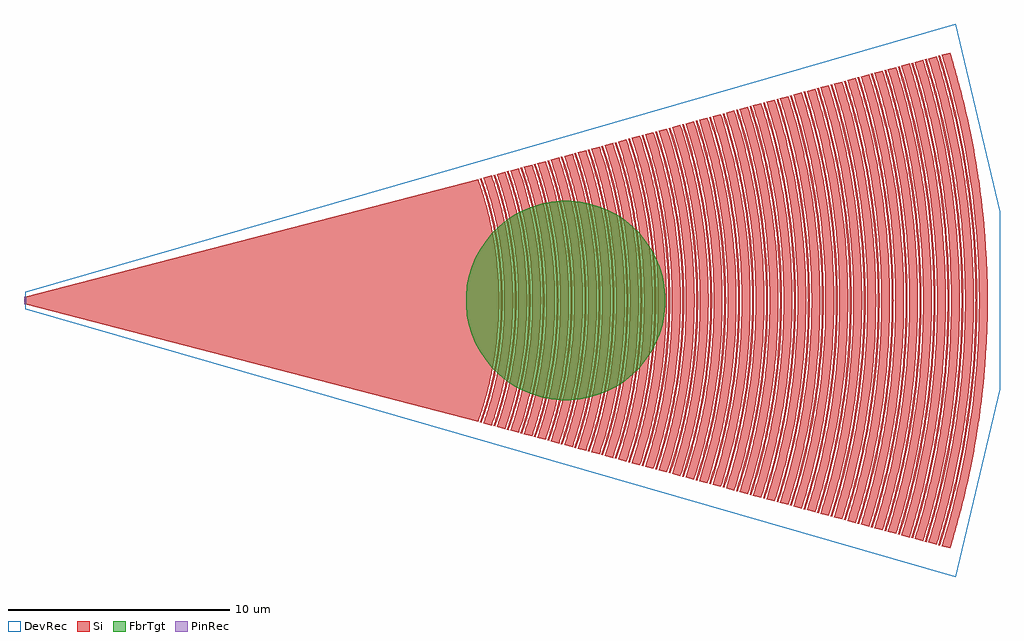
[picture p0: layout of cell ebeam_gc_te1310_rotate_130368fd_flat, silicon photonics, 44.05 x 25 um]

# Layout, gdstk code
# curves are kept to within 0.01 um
import gdstk
lib = gdstk.Library(unit=1e-6, precision=1e-09)
def R(c, l, rs):  # rectangles x0, y0, x1, y1
    for r in rs: c.add(gdstk.rectangle(r[:2], r[2:], *l))
def P(c, l, *ps):  # polygons
    for p in ps: c.add(gdstk.Polygon(p, *l))
Si = (1, 0)
PinRec = (1, 10)
DevRec = (68, 0)
FbrTgt = (81, 0)

ebeam_gc_te1310_rotate_1 = lib.new_cell('ebeam_gc_te1310_rotate_130368fd_flat')
P(ebeam_gc_te1310_rotate_1, Si, [(20.602,5.52),(20.798,4.936),(21.015,4.18),(21.208,3.359),(21.313,2.806),(21.422,2.082),(21.503,1.296),(21.54,0.677),(21.554,0.056),(21.54,-0.677),(21.503,-1.296),(21.429,-2.026),(21.332,-2.695),(21.208,-3.359),(21.029,-4.126),(20.798,-4.936),(20.602,-5.52),(20.526,-5.5),(20.77,-4.757),(20.993,-3.948),(21.174,-3.127),(21.289,-2.463),(21.37,-1.851),(21.424,-1.292),(21.461,-0.674),(21.475,-0.056),(21.461,0.674),(21.424,1.292),(21.37,1.851),(21.289,2.463),(21.174,3.127),(20.993,3.948),(20.77,4.757),(20.526,5.5)],
  [(21.057,5.642),(21.306,4.88),(21.462,4.327),(21.612,3.714),(21.77,2.924),(21.883,2.184),(21.953,1.554),(22.008,0.749),(22.024,0.115),(22.008,-0.749),(21.968,-1.382),(21.883,-2.184),(21.789,-2.811),(21.661,-3.489),(21.491,-4.216),(21.306,-4.88),(21.057,-5.642),(20.68,-5.541),(20.926,-4.793),(21.094,-4.196),(21.276,-3.427),(21.393,-2.816),(21.502,-2.089),(21.564,-1.527),(21.618,-0.736),(21.634,-0.113),(21.618,0.736),(21.583,1.301),(21.516,1.977),(21.412,2.705),(21.276,3.427),(21.094,4.196),(20.926,4.793),(20.68,5.541)],
  [(21.211,5.683),(21.428,5.026),(21.633,4.303),(21.794,3.627),(21.938,2.888),(22.034,2.258),(22.112,1.566),(22.167,0.755),(22.184,0.058),(22.172,-0.639),(22.127,-1.392),(22.049,-2.142),(21.938,-2.888),(21.794,-3.627),(21.633,-4.303),(21.428,-5.026),(21.211,-5.683),(21.135,-5.663),(21.368,-4.953),(21.57,-4.232),(21.752,-3.445),(21.888,-2.707),(21.991,-1.963),(22.053,-1.329),(22.093,-0.636),(22.105,-0.058),(22.093,0.636),(22.053,1.329),(21.991,1.963),(21.906,2.593),(21.752,3.445),(21.57,4.232),(21.368,4.953),(21.135,5.663)],
  [(21.665,5.805),(21.903,5.077),(22.109,4.338),(22.258,3.705),(22.384,3.066),(22.502,2.305),(22.581,1.599),(22.632,0.889),(22.654,0.119),(22.648,-0.474),(22.606,-1.303),(22.545,-1.953),(22.424,-2.833),(22.283,-3.589),(22.109,-4.338),(21.903,-5.077),(21.665,-5.805),(21.289,-5.704),(21.523,-4.989),(21.712,-4.319),(21.861,-3.697),(21.987,-3.071),(22.114,-2.266),(22.187,-1.629),(22.245,-0.816),(22.264,-0.117),(22.25,0.699),(22.212,1.339),(22.15,1.977),(22.037,2.784),(21.873,3.641),(21.712,4.319),(21.523,4.989),(21.289,5.704)],
  [(21.819,5.846),(22.024,5.226),(22.251,4.426),(22.403,3.789),(22.542,3.088),(22.636,2.499),(22.735,1.67),(22.797,0.776),(22.814,0.06),(22.804,-0.597),(22.756,-1.432),(22.676,-2.203),(22.582,-2.853),(22.428,-3.673),(22.251,-4.426),(22.024,-5.226),(21.819,-5.846),(21.743,-5.826),(21.964,-5.152),(22.188,-4.353),(22.35,-3.66),(22.513,-2.784),(22.59,-2.255),(22.677,-1.427),(22.718,-0.773),(22.735,-0.06),(22.725,0.595),(22.677,1.427),(22.59,2.255),(22.513,2.784),(22.35,3.66),(22.188,4.353),(21.964,5.152),(21.743,5.826)],
  [(22.274,5.968),(22.517,5.219),(22.712,4.518),(22.867,3.868),(23.029,3.032),(23.144,2.249),(23.215,1.583),(23.267,0.792),(23.284,0.122),(23.272,-0.67),(23.235,-1.34),(23.159,-2.128),(23.049,-2.912),(22.905,-3.689),(22.742,-4.4),(22.517,-5.219),(22.274,-5.968),(21.897,-5.867),(22.137,-5.131),(22.329,-4.442),(22.495,-3.744),(22.632,-3.04),(22.756,-2.211),(22.826,-1.556),(22.88,-0.719),(22.894,-0.12),(22.88,0.719),(22.841,1.377),(22.756,2.211),(22.662,2.863),(22.532,3.569),(22.359,4.326),(22.137,5.131),(21.897,5.867)],
  [(22.428,6.01),(22.672,5.255),(22.884,4.49),(23.037,3.834),(23.187,3.053),(23.303,2.264),(23.369,1.655),(23.429,0.736),(23.444,0.061),(23.429,-0.736),(23.369,-1.655),(23.303,-2.264),(23.187,-3.053),(23.037,-3.834),(22.884,-4.49),(22.672,-5.255),(22.428,-6.01),(22.352,-5.989),(22.63,-5.121),(22.836,-4.356),(23.02,-3.523),(23.148,-2.801),(23.253,-2.014),(23.315,-1.344),(23.35,-0.734),(23.365,-0.061),(23.35,0.734),(23.315,1.344),(23.253,2.014),(23.148,2.801),(23.02,3.523),(22.836,4.356),(22.63,5.121),(22.352,5.989)],
  [(22.882,6.131),(23.148,5.302),(23.33,4.641),(23.488,3.973),(23.643,3.176),(23.747,2.496),(23.838,1.688),(23.891,0.939),(23.914,0.125),(23.904,-0.626),(23.859,-1.438),(23.779,-2.248),(23.664,-3.052),(23.522,-3.813),(23.33,-4.641),(23.148,-5.302),(22.882,-6.131),(22.506,-6.03),(22.733,-5.332),(22.963,-4.505),(23.129,-3.788),(23.267,-3.063),(23.383,-2.272),(23.46,-1.538),(23.507,-0.8),(23.524,-0.123),(23.512,0.677),(23.46,1.538),(23.383,2.272),(23.267,3.063),(23.129,3.788),(22.963,4.505),(22.733,5.332),(22.506,6.03)],
  [(23.036,6.173),(23.268,5.457),(23.471,4.733),(23.632,4.061),(23.801,3.197),(23.906,2.513),(24.003,1.636),(24.056,0.819),(24.074,0.063),(24.056,-0.819),(24.003,-1.636),(23.93,-2.325),(23.822,-3.073),(23.697,-3.753),(23.502,-4.611),(23.286,-5.397),(23.036,-6.173),(22.96,-6.152),(23.209,-5.379),(23.424,-4.596),(23.619,-3.741),(23.783,-2.815),(23.859,-2.255),(23.944,-1.381),(23.98,-0.754),(23.995,-0.063),(23.98,0.754),(23.944,1.381),(23.859,2.255),(23.783,2.815),(23.619,3.741),(23.424,4.596),(23.209,5.379),(22.96,6.152)],
  [(23.491,6.294),(23.726,5.565),(23.948,4.764),(24.109,4.078),(24.278,3.196),(24.382,2.498),(24.472,1.668),(24.517,1.028),(24.544,0.129),(24.529,-0.771),(24.488,-1.476),(24.406,-2.307),(24.299,-3.07),(24.148,-3.89),(23.948,-4.764),(23.726,-5.565),(23.491,-6.294),(23.114,-6.193),(23.328,-5.536),(23.55,-4.748),(23.738,-3.951),(23.881,-3.208),(23.986,-2.521),(24.083,-1.642),(24.139,-0.759),(24.154,-0.126),(24.146,0.569),(24.108,1.327),(24.018,2.27),(23.902,3.083),(23.751,3.889),(23.581,4.626),(23.364,5.416),(23.114,6.193)],
  [(23.645,6.336),(23.918,5.478),(24.12,4.732),(24.28,4.041),(24.447,3.153),(24.565,2.322),(24.637,1.615),(24.683,0.905),(24.704,0.065),(24.691,-0.711),(24.637,-1.615),(24.565,-2.322),(24.447,-3.153),(24.28,-4.041),(24.12,-4.732),(23.918,-5.478),(23.645,-6.336),(23.569,-6.315),(23.841,-5.46),(24.058,-4.655),(24.241,-3.839),(24.399,-2.953),(24.494,-2.251),(24.558,-1.61),(24.607,-0.838),(24.625,-0.064),(24.612,0.709),(24.573,1.417),(24.494,2.251),(24.399,2.953),(24.241,3.839),(24.058,4.655),(23.841,5.46),(23.569,6.315)],
  [(24.099,6.457),(24.358,5.646),(24.533,5.014),(24.73,4.183),(24.869,3.473),(25.009,2.562),(25.095,1.777),(25.15,0.988),(25.174,0.132),(25.156,-0.856),(25.106,-1.646),(25.041,-2.301),(24.924,-3.149),(24.784,-3.925),(24.582,-4.823),(24.358,-5.646),(24.099,-6.457),(23.723,-6.356),(23.978,-5.558),(24.215,-4.685),(24.359,-4.054),(24.516,-3.228),(24.621,-2.523),(24.706,-1.749),(24.757,-1.038),(24.784,-0.13),(24.769,0.778),(24.737,1.361),(24.66,2.201),(24.537,3.1),(24.411,3.801),(24.215,4.685),(23.978,5.558),(23.723,6.356)],
  [(24.253,6.499),(24.532,5.619),(24.706,4.982),(24.915,4.08),(25.05,3.365),(25.176,2.513),(25.26,1.722),(25.318,0.796),(25.334,0.066),(25.318,-0.796),(25.271,-1.59),(25.176,-2.513),(25.061,-3.299),(24.915,-4.08),(24.706,-4.982),(24.532,-5.619),(24.253,-6.499),(24.177,-6.478),(24.455,-5.601),(24.661,-4.838),(24.837,-4.067),(25.004,-3.159),(25.121,-2.308),(25.192,-1.585),(25.239,-0.793),(25.255,-0.066),(25.244,0.661),(25.202,1.453),(25.136,2.177),(25.044,2.898),(24.889,3.808),(24.723,4.582),(24.455,5.601),(24.177,6.478)],
  [(24.708,6.62),(24.952,5.853),(25.184,5.009),(25.379,4.156),(25.505,3.494),(25.644,2.56),(25.735,1.687),(25.791,0.743),(25.804,0.135),(25.791,-0.743),(25.735,-1.687),(25.644,-2.56),(25.549,-3.228),(25.379,-4.156),(25.184,-5.009),(24.952,-5.853),(24.708,-6.62),(24.331,-6.52),(24.592,-5.7),(24.785,-4.997),(24.953,-4.288),(25.107,-3.506),(25.239,-2.653),(25.322,-1.926),(25.393,-0.931),(25.414,-0.133),(25.396,0.865),(25.346,1.661),(25.28,2.323),(25.162,3.179),(25.021,3.963),(24.833,4.805),(24.592,5.7),(24.331,6.52)],
  [(24.862,6.662),(25.108,5.889),(25.307,5.172),(25.523,4.248),(25.663,3.515),(25.803,2.575),(25.894,1.697),(25.948,0.815),(25.964,0.068),(25.948,-0.815),(25.905,-1.562),(25.835,-2.306),(25.707,-3.248),(25.55,-4.115),(25.373,-4.909),(25.146,-5.759),(24.862,-6.662),(24.786,-6.641),(25.012,-5.936),(25.263,-5.025),(25.445,-4.235),(25.629,-3.238),(25.756,-2.299),(25.826,-1.557),(25.869,-0.813),(25.885,-0.068),(25.869,0.813),(25.826,1.557),(25.756,2.299),(25.629,3.238),(25.445,4.235),(25.263,5.025),(25.012,5.936),(24.786,6.641)],
  [(25.316,6.784),(25.566,5.996),(25.785,5.199),(25.987,4.325),(26.152,3.443),(26.271,2.622),(26.358,1.797),(26.409,1.038),(26.434,0.138),(26.423,-0.692),(26.369,-1.659),(26.271,-2.622),(26.174,-3.307),(26.001,-4.258),(25.785,-5.199),(25.566,-5.996),(25.316,-6.784),(24.94,-6.683),(25.167,-5.972),(25.419,-5.056),(25.616,-4.195),(25.754,-3.459),(25.883,-2.583),(25.963,-1.838),(26.019,-1.022),(26.044,-0.136),(26.031,0.75),(25.98,1.635),(25.883,2.583),(25.787,3.258),(25.643,4.061),(25.452,4.924),(25.262,5.647),(24.94,6.683)],
  [(25.471,6.825),(25.741,5.966),(25.975,5.096),(26.158,4.284),(26.31,3.464),(26.421,2.707),(26.517,1.808),(26.568,1.044),(26.594,0.07),(26.58,-0.766),(26.517,-1.808),(26.421,-2.707),(26.31,-3.464),(26.158,-4.284),(25.975,-5.096),(25.741,-5.966),(25.471,-6.825),(25.394,-6.804),(25.664,-5.949),(25.914,-5.014),(26.108,-4.135),(26.254,-3.317),(26.368,-2.492),(26.444,-1.733),(26.501,-0.763),(26.515,-0.069),(26.501,0.763),(26.455,1.595),(26.376,2.424),(26.275,3.18),(26.108,4.135),(25.914,5.014),(25.664,5.949),(25.394,6.804)],
  [(25.925,6.947),(26.199,6.073),(26.385,5.392),(26.594,4.498),(26.765,3.595),(26.88,2.825),(26.974,1.981),(27.035,1.133),(27.064,0.142),(27.053,-0.708),(26.998,-1.699),(26.915,-2.544),(26.788,-3.455),(26.594,-4.498),(26.436,-5.187),(26.199,-6.073),(25.925,-6.947),(25.548,-6.846),(25.819,-5.985),(26.054,-5.112),(26.237,-4.297),(26.39,-3.474),(26.51,-2.646),(26.603,-1.744),(26.652,-0.977),(26.674,-0.14),(26.658,0.838),(26.603,1.744),(26.51,2.646),(26.39,3.474),(26.237,4.297),(26.054,5.112),(25.819,5.985),(25.548,6.846)],
  [(26.079,6.988),(26.354,6.109),(26.559,5.355),(26.751,4.525),(26.923,3.616),(27.029,2.912),(27.133,1.993),(27.198,1.069),(27.224,0.071),(27.21,-0.784),(27.157,-1.709),(27.082,-2.488),(26.946,-3.476),(26.78,-4.385),(26.559,-5.355),(26.354,-6.109),(26.079,-6.988),(26.003,-6.967),(26.258,-6.159),(26.549,-5.064),(26.73,-4.234),(26.89,-3.325),(26.995,-2.552),(27.078,-1.704),(27.131,-0.782),(27.145,-0.071),(27.131,0.782),(27.089,1.562),(27.019,2.34),(26.89,3.325),(26.73,4.234),(26.549,5.064),(26.258,6.159),(26.003,6.967)],
  [(26.534,7.11),(26.813,6.215),(27.072,5.238),(27.23,4.532),(27.401,3.607),(27.542,2.603),(27.615,1.883),(27.668,1.087),(27.694,0.145),(27.685,-0.652),(27.632,-1.666),(27.542,-2.603),(27.424,-3.464),(27.23,-4.532),(27.072,-5.238),(26.813,-6.215),(26.534,-7.11),(26.157,-7.009),(26.433,-6.127),(26.655,-5.302),(26.845,-4.468),(27.003,-3.627),(27.154,-2.567),(27.226,-1.856),(27.278,-1.072),(27.304,-0.143),(27.295,0.643),(27.243,1.642),(27.154,2.567),(27.026,3.486),(26.845,4.468),(26.655,5.302),(26.433,6.127),(26.157,7.009)],
  [(26.688,7.151),(26.948,6.321),(27.194,5.409),(27.416,4.416),(27.571,3.556),(27.701,2.618),(27.786,1.748),(27.837,0.875),(27.854,0.073),(27.837,-0.875),(27.786,-1.748),(27.701,-2.618),(27.571,-3.556),(27.416,-4.416),(27.194,-5.409),(26.948,-6.321),(26.688,-7.151),(26.611,-7.13),(26.871,-6.303),(27.151,-5.253),(27.324,-4.474),(27.504,-3.475),(27.622,-2.611),(27.707,-1.743),(27.758,-0.872),(27.775,-0.073),(27.763,0.727),(27.718,1.598),(27.622,2.611),(27.526,3.331),(27.38,4.19),(27.151,5.253),(26.871,6.303),(26.611,7.13)],
  [(27.142,7.273),(27.406,6.428),(27.601,5.716),(27.821,4.78),(27.989,3.909),(28.133,2.957),(28.237,1.999),(28.301,1.038),(28.324,0.148),(28.31,-0.815),(28.261,-1.704),(28.178,-2.589),(28.049,-3.543),(27.895,-4.418),(27.673,-5.429),(27.447,-6.286),(27.142,-7.273),(26.765,-7.172),(27.006,-6.409),(27.273,-5.425),(27.481,-4.5),(27.639,-3.639),(27.745,-2.916),(27.848,-1.972),(27.911,-1.023),(27.934,-0.146),(27.92,0.804),(27.866,1.753),(27.781,2.626),(27.639,3.639),(27.481,4.5),(27.273,5.425),(27.006,6.409),(26.765,7.172)],
  [(27.296,7.314),(27.582,6.393),(27.812,5.532),(27.993,4.735),(28.172,3.784),(28.301,2.9),(28.396,2.011),(28.457,1.118),(28.484,0.075),(28.472,-0.746),(28.42,-1.713),(28.328,-2.678),(28.184,-3.71),(28.038,-4.516),(27.812,-5.532),(27.582,-6.393),(27.296,-7.314),(27.22,-7.294),(27.505,-6.375),(27.752,-5.445),(27.96,-4.503),(28.129,-3.553),(28.258,-2.597),(28.33,-1.857),(28.378,-1.115),(28.405,-0.074),(28.393,0.743),(28.347,1.634),(28.282,2.375),(28.173,3.26),(27.974,4.431),(27.752,5.445),(27.505,6.375),(27.22,7.294)],
  [(27.751,7.436),(27.977,6.717),(28.237,5.77),(28.442,4.887),(28.638,3.847),(28.769,2.948),(28.872,1.968),(28.934,0.985),(28.954,0.152),(28.937,-0.909),(28.89,-1.742),(28.805,-2.647),(28.674,-3.622),(28.488,-4.665),(28.309,-5.477),(28.061,-6.427),(27.751,-7.436),(27.374,-7.335),(27.64,-6.483),(27.891,-5.548),(28.073,-4.748),(28.239,-3.868),(28.362,-3.056),(28.47,-2.091),(28.537,-1.121),(28.564,-0.15),(28.55,0.822),(28.495,1.793),(28.417,2.611),(28.287,3.573),(28.103,4.602),(27.891,5.548),(27.64,6.483),(27.374,7.335)],
  [(27.905,7.477),(28.132,6.754),(28.393,5.802),(28.599,4.914),(28.796,3.868),(28.928,2.964),(29.031,1.979),(29.09,1.067),(29.114,0.076),(29.09,-1.067),(29.031,-1.979),(28.928,-2.964),(28.796,-3.868),(28.599,-4.914),(28.393,-5.802),(28.132,-6.754),(27.905,-7.477),(27.828,-7.457),(28.119,-6.518),(28.388,-5.492),(28.611,-4.455),(28.777,-3.482),(28.902,-2.503),(28.97,-1.747),(29.02,-0.836),(29.035,-0.076),(29.02,0.836),(28.97,1.747),(28.902,2.503),(28.777,3.482),(28.611,4.455),(28.388,5.492),(28.119,6.518),(27.828,7.457)],
  [(28.359,7.599),(28.633,6.716),(28.854,5.897),(29.094,4.843),(29.25,4.007),(29.396,3.012),(29.494,2.088),(29.56,1.084),(29.584,0.155),(29.572,-0.774),(29.513,-1.857),(29.396,-3.012),(29.275,-3.854),(29.094,-4.843),(28.891,-5.747),(28.633,-6.716),(28.359,-7.599),(27.982,-7.498),(28.232,-6.7),(28.472,-5.819),(28.694,-4.853),(28.876,-3.878),(29.008,-2.972),(29.105,-2.061),(29.163,-1.222),(29.194,-0.153),(29.182,0.764),(29.135,1.68),(29.061,2.517),(28.924,3.577),(28.769,4.479),(28.544,5.523),(28.274,6.554),(27.982,7.498)],
  [(28.513,7.64),(28.788,6.752),(29.066,5.702),(29.267,4.793),(29.433,3.875),(29.564,2.951),(29.666,1.944),(29.723,1.012),(29.744,0.078),(29.723,-1.012),(29.666,-1.944),(29.564,-2.951),(29.433,-3.875),(29.267,-4.793),(29.066,-5.702),(28.788,-6.752),(28.513,-7.64),(28.437,-7.62),(28.711,-6.734),(28.97,-5.762),(29.189,-4.78),(29.379,-3.711),(29.495,-2.866),(29.581,-2.017),(29.644,-1.009),(29.665,-0.078),(29.65,0.854),(29.599,1.784),(29.504,2.789),(29.402,3.558),(29.219,4.628),(29.024,5.537),(28.774,6.511),(28.437,7.62)],
  [(28.968,7.762),(29.268,6.784),(29.509,5.87),(29.731,4.869),(29.887,4.014),(30.032,2.998),(30.129,2.054),(30.186,1.186),(30.214,0.158),(30.199,-0.87),(30.153,-1.739),(30.06,-2.762),(29.912,-3.858),(29.731,-4.869),(29.509,-5.87),(29.268,-6.784),(28.968,-7.762),(28.591,-7.661),(28.888,-6.696),(29.145,-5.718),(29.331,-4.882),(29.513,-3.885),(29.644,-2.959),(29.74,-2.027),(29.8,-1.093),(29.824,-0.156),(29.812,0.781),(29.764,1.716),(29.68,2.649),(29.513,3.885),(29.331,4.882),(29.145,5.718),(28.888,6.696),(28.591,7.661)],
  [(29.122,7.803),(29.423,6.82),(29.684,5.824),(29.873,4.972),(30.045,4.036),(30.191,3.013),(30.288,2.065),(30.349,1.113),(30.374,0.08),(30.361,-0.795),(30.301,-1.906),(30.191,-3.013),(30.07,-3.879),(29.904,-4.817),(29.684,-5.824),(29.423,-6.82),(29.122,-7.803),(29.045,-7.783),(29.389,-6.65),(29.625,-5.732),(29.826,-4.804),(30.016,-3.712),(30.122,-2.927),(30.216,-1.98),(30.27,-1.11),(30.295,-0.079),(30.282,0.793),(30.228,1.822),(30.14,2.769),(30.016,3.712),(29.826,4.804),(29.625,5.732),(29.389,6.65),(29.045,7.783)],
  [(29.576,7.925),(29.837,7.081),(30.108,6.071),(30.321,5.128),(30.498,4.178),(30.629,3.3),(30.751,2.177),(30.819,1.13),(30.844,0.161),(30.829,-0.888),(30.764,-2.016),(30.669,-2.98),(30.537,-3.939),(30.353,-4.97),(30.127,-5.993),(29.837,-7.081),(29.576,-7.925),(29.2,-7.824),(29.48,-6.914),(29.763,-5.839),(29.968,-4.907),(30.125,-4.046),(30.271,-3.021),(30.362,-2.15),(30.426,-1.195),(30.454,-0.159),(30.439,0.877),(30.393,1.752),(30.299,2.784),(30.15,3.889),(29.999,4.751),(29.763,5.839),(29.48,6.914),(29.2,7.824)],
  [(29.73,7.966),(30.015,7.04),(30.283,6.024),(30.526,4.917),(30.695,3.959),(30.818,3.076),(30.923,2.027),(30.982,1.055),(31.004,0.081),(30.982,-1.055),(30.923,-2.027),(30.837,-2.915),(30.695,-3.959),(30.526,-4.917),(30.283,-6.024),(30.015,-7.04),(29.73,-7.966),(29.654,-7.946),(29.982,-6.867),(30.225,-5.93),(30.448,-4.904),(30.629,-3.869),(30.749,-2.988),(30.851,-1.941),(30.903,-1.052),(30.925,-0.081),(30.912,0.809),(30.857,1.86),(30.785,2.666),(30.665,3.629),(30.508,4.587),(30.262,5.773),(29.982,6.867),(29.654,7.946)],
  [(30.185,8.088),(30.473,7.147),(30.745,6.115),(30.942,5.233),(31.149,4.101),(31.296,3.041),(31.393,2.058),(31.449,1.153),(31.474,0.165),(31.449,-1.153),(31.393,-2.058),(31.296,-3.041),(31.149,-4.101),(30.942,-5.233),(30.745,-6.115),(30.473,-7.147),(30.185,-8.088),(29.808,-7.987),(30.071,-7.136),(30.343,-6.118),(30.574,-5.089),(30.736,-4.21),(30.878,-3.245),(30.997,-2.113),(31.059,-1.139),(31.084,-0.163),(31.066,0.976),(31.01,1.951),(30.917,2.922),(30.775,3.97),(30.59,5.009),(30.381,5.961),(30.071,7.136),(29.808,7.987)],
  [(30.339,8.129),(30.628,7.184),(30.882,6.227),(31.116,5.179),(31.294,4.203),(31.445,3.139),(31.552,2.068),(31.615,0.994),(31.634,0.083),(31.615,-0.994),(31.552,-2.068),(31.445,-3.139),(31.32,-4.04),(31.116,-5.179),(30.882,-6.227),(30.628,-7.184),(30.339,-8.129),(30.263,-8.109),(30.551,-7.166),(30.824,-6.131),(31.07,-5.004),(31.254,-3.948),(31.376,-3.049),(31.473,-2.063),(31.533,-1.074),(31.555,-0.083),(31.533,1.074),(31.473,2.063),(31.376,3.049),(31.254,3.948),(31.07,5.004),(30.824,6.131),(30.551,7.166),(30.263,8.109)],
  [(30.793,8.251),(31.109,7.211),(31.343,6.32),(31.58,5.256),(31.76,4.266),(31.892,3.352),(31.993,2.434),(32.066,1.428),(32.104,0.168),(32.091,-0.84),(32.046,-1.764),(31.942,-2.935),(31.812,-3.934),(31.644,-4.927),(31.382,-6.157),(31.109,-7.211),(30.793,-8.251),(30.417,-8.15),(30.729,-7.123),(30.941,-6.323),(31.162,-5.355),(31.36,-4.296),(31.494,-3.393),(31.604,-2.404),(31.685,-1.245),(31.714,-0.166),(31.701,0.83),(31.651,1.825),(31.544,2.982),(31.425,3.886),(31.259,4.867),(30.999,6.082),(30.729,7.123),(30.417,8.15)],
  [(30.947,8.292),(31.287,7.166),(31.539,6.188),(31.754,5.2),(31.918,4.287),(32.051,3.369),(32.174,2.193),(32.234,1.266),(32.264,0.084),(32.241,-1.098),(32.174,-2.193),(32.051,-3.369),(31.918,-4.287),(31.754,-5.2),(31.539,-6.188),(31.287,-7.166),(30.947,-8.292),(30.871,-8.272),(31.21,-7.148),(31.461,-6.172),(31.676,-5.187),(31.879,-4.027),(32.003,-3.11),(32.102,-2.104),(32.159,-1.179),(32.185,-0.084),(32.169,0.927),(32.126,1.768),(32.049,2.691),(31.904,3.861),(31.708,5.022),(31.48,6.091),(31.21,7.148),(30.871,8.272)],
  [(31.402,8.414),(31.745,7.271),(32.02,6.195),(32.218,5.276),(32.398,4.265),(32.54,3.248),(32.636,2.311),(32.708,1.199),(32.734,0.171),(32.721,-0.857),(32.663,-1.969),(32.55,-3.163),(32.398,-4.265),(32.218,-5.276),(32.02,-6.195),(31.745,-7.271),(31.402,-8.414),(31.025,-8.313),(31.343,-7.265),(31.618,-6.203),(31.8,-5.379),(31.998,-4.298),(32.131,-3.377),(32.247,-2.283),(32.322,-1.1),(32.344,-0.169),(32.322,1.1),(32.261,2.114),(32.181,2.957),(32.05,3.964),(31.833,5.213),(31.618,6.203),(31.343,7.265),(31.025,8.313)],
  [(31.556,8.455),(31.855,7.471),(32.117,6.476),(32.375,5.302),(32.556,4.286),(32.688,3.349),(32.816,2.065),(32.871,1.119),(32.894,0),(32.871,-1.119),(32.816,-2.065),(32.688,-3.349),(32.556,-4.286),(32.375,-5.302),(32.117,-6.476),(31.855,-7.471),(31.556,-8.455),(31.48,-8.435),(31.824,-7.289),(32.099,-6.21),(32.314,-5.205),(32.517,-4.021),(32.64,-3.085),(32.737,-2.06),(32.792,-1.116),(32.815,0),(32.792,1.116),(32.737,2.06),(32.64,3.085),(32.517,4.021),(32.314,5.205),(32.099,6.21),(31.824,7.289),(31.48,8.435)],
  [(32.01,8.577),(32.313,7.579),(32.578,6.569),(32.823,5.463),(33.009,4.434),(33.156,3.397),(33.257,2.442),(33.325,1.484),(33.364,0.175),(33.348,-0.961),(33.292,-2.007),(33.187,-3.137),(33.036,-4.261),(32.84,-5.378),(32.578,-6.569),(32.313,-7.579),(32.01,-8.577),(31.634,-8.476),(31.933,-7.49),(32.196,-6.492),(32.455,-5.315),(32.636,-4.297),(32.768,-3.357),(32.868,-2.414),(32.944,-1.294),(32.974,-0.173),(32.955,1.036),(32.896,2.07),(32.789,3.186),(32.636,4.297),(32.455,5.315),(32.196,6.492),(31.933,7.49),(31.634,8.476)],
  [(32.164,8.618),(32.492,7.531),(32.755,6.515),(32.963,5.575),(33.167,4.455),(33.315,3.413),(33.438,2.192),(33.504,1.053),(33.524,0),(33.504,-1.053),(33.438,-2.192),(33.315,-3.413),(33.167,-4.455),(32.963,-5.575),(32.755,-6.515),(32.492,-7.531),(32.164,-8.618),(32.088,-8.598),(32.415,-7.513),(32.737,-6.245),(32.936,-5.305),(33.155,-4.012),(33.277,-3.058),(33.366,-2.099),(33.425,-1.05),(33.445,0),(33.425,1.05),(33.366,2.099),(33.277,3.058),(33.155,4.012),(32.936,5.305),(32.737,6.245),(32.415,7.513),(32.088,8.598)],
  [(32.619,8.74),(32.974,7.552),(33.237,6.521),(33.427,5.654),(33.619,4.605),(33.772,3.55),(33.893,2.4),(33.963,1.334),(33.994,0.178),(33.971,-1.157),(33.914,-2.134),(33.804,-3.285),(33.661,-4.342),(33.495,-5.305),(33.237,-6.521),(32.974,-7.552),(32.619,-8.74),(32.242,-8.639),(32.57,-7.549),(32.834,-6.531),(33.11,-5.244),(33.274,-4.292),(33.416,-3.247),(33.504,-2.372),(33.569,-1.407),(33.604,-0.176),(33.581,1.143),(33.525,2.109),(33.416,3.247),(33.274,4.292),(33.11,5.244),(32.834,6.531),(32.57,7.549),(32.242,8.639)],
  [(32.773,8.781),(33.129,7.588),(33.373,6.638),(33.619,5.505),(33.819,4.362),(33.983,3.123),(34.08,2.055),(34.137,0.983),(34.154,0),(34.137,-0.983),(34.08,-2.055),(33.983,-3.123),(33.819,-4.362),(33.619,-5.505),(33.373,-6.638),(33.129,-7.588),(32.773,-8.781),(32.697,-8.761),(33.052,-7.57),(33.316,-6.536),(33.541,-5.493),(33.741,-4.352),(33.914,-3.027),(34.001,-2.05),(34.055,-1.07),(34.075,0),(34.055,1.07),(34.001,2.05),(33.914,3.027),(33.741,4.352),(33.541,5.493),(33.316,6.536),(33.052,7.57),(32.697,8.761)],
  [(33.227,8.903),(33.564,7.78),(33.855,6.642),(34.083,5.581),(34.272,4.512),(34.431,3.346),(34.529,2.354),(34.604,1.087),(34.624,0.181),(34.604,-1.087),(34.543,-2.173),(34.431,-3.346),(34.272,-4.512),(34.083,-5.581),(33.855,-6.642),(33.564,-7.78),(33.227,-8.903),(32.851,-8.802),(33.16,-7.778),(33.41,-6.828),(33.681,-5.606),(33.857,-4.638),(34.043,-3.308),(34.132,-2.417),(34.203,-1.344),(34.234,-0.179),(34.214,1.075),(34.147,2.238),(34.043,3.308),(33.899,4.373),(33.681,5.606),(33.452,6.654),(33.16,7.778),(32.851,8.802)],
  [(33.381,8.945),(33.695,7.903),(33.991,6.761),(34.223,5.696),(34.43,4.533),(34.59,3.361),(34.688,2.365),(34.76,1.183),(34.784,0),(34.76,-1.183),(34.688,-2.365),(34.59,-3.361),(34.43,-4.533),(34.223,-5.696),(33.991,-6.761),(33.695,-7.903),(33.381,-8.945),(33.305,-8.924),(33.666,-7.711),(33.975,-6.481),(34.197,-5.416),(34.406,-4.164),(34.541,-3.083),(34.63,-2.088),(34.681,-1.181),(34.705,0),(34.681,1.181),(34.63,2.088),(34.541,3.083),(34.406,4.164),(34.197,5.416),(33.975,6.481),(33.666,7.711),(33.305,8.924)],
  [(33.836,9.066),(34.153,8.01),(34.431,6.942),(34.651,5.954),(34.882,4.685),(35.025,3.681),(35.15,2.489),(35.222,1.384),(35.254,0.185),(35.243,-0.831),(35.185,-2.029),(35.098,-3.04),(34.938,-4.321),(34.705,-5.683),(34.494,-6.674),(34.202,-7.833),(33.836,-9.066),(33.459,-8.965),(33.773,-7.921),(34.027,-6.954),(34.32,-5.62),(34.51,-4.543),(34.67,-3.369),(34.768,-2.37),(34.828,-1.46),(34.864,-0.183),(34.844,1.095),(34.789,2.097),(34.67,3.369),(34.524,4.453),(34.32,5.62),(34.111,6.6),(33.822,7.746),(33.459,8.965)],
  [(33.99,9.108),(34.333,7.958),(34.63,6.794),(34.88,5.618),(35.069,4.523),(35.217,3.422),(35.324,2.315),(35.393,1.112),(35.414,0),(35.393,-1.112),(35.324,-2.315),(35.217,-3.422),(35.069,-4.523),(34.88,-5.618),(34.63,-6.794),(34.333,-7.958),(33.99,-9.108),(33.914,-9.087),(34.256,-7.94),(34.444,-7.227),(34.594,-6.599),(34.819,-5.515),(35.018,-4.331),(35.159,-3.231),(35.259,-2.126),(35.314,-1.11),(35.335,0),(35.314,1.11),(35.259,2.126),(35.159,3.231),(35.018,4.331),(34.819,5.515),(34.594,6.599),(34.444,7.227),(34.256,7.94),(33.914,9.087)],
  [(34.444,9.229),(34.741,8.244),(35.07,6.976),(35.29,5.969),(35.521,4.676),(35.663,3.654),(35.786,2.44),(35.856,1.315),(35.884,0.188),(35.87,-0.939),(35.814,-2.065),(35.706,-3.281),(35.521,-4.676),(35.29,-5.969),(35.07,-6.976),(34.741,-8.244),(34.444,-9.229),(34.068,-9.128),(34.436,-7.887),(34.709,-6.81),(34.942,-5.722),(35.12,-4.717),(35.275,-3.614),(35.397,-2.413),(35.462,-1.393),(35.494,-0.186),(35.477,1.022),(35.397,2.413),(35.275,3.614),(35.12,4.717),(34.942,5.722),(34.709,6.81),(34.436,7.887),(34.068,9.128)],
  [(34.599,9.271),(34.947,8.1),(35.205,7.098),(35.466,5.903),(35.679,4.697),(35.833,3.577),(35.945,2.45),(36.023,1.132),(36.044,0),(36.023,-1.132),(35.945,-2.45),(35.833,-3.577),(35.679,-4.697),(35.466,-5.903),(35.205,-7.098),(34.947,-8.1),(34.599,-9.271),(34.522,-9.25),(34.87,-8.082),(35.149,-6.992),(35.424,-5.706),(35.643,-4.408),(35.776,-3.382),(35.881,-2.257),(35.944,-1.13),(35.965,0),(35.944,1.13),(35.881,2.257),(35.776,3.382),(35.643,4.408),(35.424,5.706),(35.149,6.992),(34.87,8.082),(34.522,9.25)],
  [(35.053,9.392),(35.405,8.206),(35.688,7.099),(35.93,5.98),(36.131,4.853),(36.29,3.718),(36.422,2.387),(36.493,1.147),(36.514,0.191),(36.505,-0.765),(36.443,-2.101),(36.323,-3.434),(36.16,-4.664),(35.93,-5.98),(35.688,-7.099),(35.405,-8.206),(35.053,-9.392),(34.676,-9.291),(35,-8.209),(35.327,-6.931),(35.527,-6.009),(35.759,-4.708),(35.924,-3.491),(36.033,-2.362),(36.103,-1.135),(36.124,-0.189),(36.103,1.135),(36.033,2.362),(35.924,3.491),(35.759,4.708),(35.527,6.009),(35.327,6.931),(35,8.209),(34.676,9.291)],
  [(35.207,9.434),(35.535,8.335),(35.866,7.037),(36.106,5.913),(36.304,4.779),(36.46,3.639),(36.581,2.398),(36.649,1.248),(36.674,0),(36.649,-1.248),(36.581,-2.398),(36.46,-3.639),(36.304,-4.779),(36.106,-5.913),(35.866,-7.037),(35.535,-8.335),(35.207,-9.434),(35.131,-9.413),(35.458,-8.317),(35.654,-7.578),(35.81,-6.928),(36.081,-5.618),(36.282,-4.391),(36.424,-3.251),(36.523,-2.106),(36.577,-1.054),(36.595,0),(36.577,1.054),(36.523,2.106),(36.424,3.251),(36.282,4.391),(36.081,5.618),(35.81,6.928),(35.654,7.578),(35.458,8.317),(35.131,9.413)],
  [(35.662,9.555),(36.019,8.349),(36.306,7.222),(36.57,5.989),(36.74,5.033),(36.928,3.686),(37.027,2.719),(37.115,1.361),(37.144,0.194),(37.123,-1.167),(37.058,-2.331),(36.961,-3.396),(36.785,-4.745),(36.57,-5.989),(36.306,-7.222),(36.019,-8.349),(35.662,-9.555),(35.285,-9.455),(35.639,-8.261),(35.879,-7.332),(36.11,-6.302),(36.338,-5.075),(36.517,-3.838),(36.638,-2.69),(36.721,-1.443),(36.754,-0.192),(36.733,1.154),(36.669,2.307),(36.562,3.456),(36.398,4.695),(36.239,5.642),(35.967,6.959),(35.639,8.261),(35.285,9.455)],
  [(35.816,9.597),(36.174,8.385),(36.44,7.348),(36.591,6.683),(36.746,5.919),(36.958,4.669),(37.109,3.508),(37.21,2.439),(37.282,1.172),(37.304,0),(37.282,-1.172),(37.21,-2.439),(37.109,-3.508),(36.958,-4.669),(36.746,-5.919),(36.591,-6.683),(36.44,-7.348),(36.174,-8.385),(35.816,-9.597),(35.739,-9.576),(36.123,-8.273),(36.407,-7.143),(36.668,-5.906),(36.865,-4.755),(37.008,-3.694),(37.131,-2.434),(37.203,-1.169),(37.225,0),(37.203,1.169),(37.131,2.434),(37.008,3.694),(36.865,4.755),(36.668,5.906),(36.407,7.143),(36.123,8.273),(35.739,9.576)],
  [(36.27,9.719),(36.58,8.681),(36.924,7.345),(37.192,6.09),(37.395,4.923),(37.555,3.748),(37.679,2.47),(37.74,1.483),(37.774,0.198),(37.756,-1.088),(37.694,-2.272),(37.588,-3.454),(37.41,-4.825),(37.192,-6.09),(36.924,-7.345),(36.58,-8.681),(36.27,-9.719),(35.893,-9.618),(36.174,-8.685),(36.519,-7.363),(36.75,-6.315),(36.993,-4.969),(37.167,-3.71),(37.266,-2.737),(37.346,-1.565),(37.384,-0.196),(37.366,1.076),(37.29,2.444),(37.167,3.71),(37.023,4.776),(36.807,6.027),(36.519,7.363),(36.174,8.685),(35.893,9.618)],
  [(36.424,9.76),(36.788,8.527),(37.08,7.376),(37.368,6.019),(37.553,4.944),(37.725,3.666),(37.846,2.381),(37.912,1.191),(37.934,0),(37.912,-1.191),(37.846,-2.381),(37.725,-3.666),(37.553,-4.944),(37.368,-6.019),(37.08,-7.376),(36.788,-8.527),(36.424,-9.76),(36.348,-9.739),(36.685,-8.604),(37.003,-7.36),(37.29,-6.006),(37.519,-4.64),(37.679,-3.363),(37.767,-2.376),(37.833,-1.189),(37.855,0),(37.833,1.189),(37.767,2.376),(37.679,3.363),(37.519,4.64),(37.29,6.006),(37.003,7.36),(36.685,8.604),(36.348,9.739)],
  [(36.879,9.882),(37.22,8.73),(37.495,7.663),(37.775,6.389),(38.004,5.105),(38.158,4.011),(38.292,2.711),(38.374,1.407),(38.404,0.201),(38.382,-1.206),(38.308,-2.511),(38.182,-3.811),(38.014,-5.039),(37.851,-5.995),(37.587,-7.272),(37.22,-8.73),(36.879,-9.882),(36.502,-9.781),(36.84,-8.641),(37.136,-7.488),(37.371,-6.421),(37.602,-5.151),(37.77,-3.97),(37.903,-2.684),(37.98,-1.492),(38.014,-0.199),(37.996,1.094),(37.919,2.485),(37.805,3.673),(37.648,4.856),(37.447,6.032),(37.204,7.198),(36.918,8.354),(36.502,9.781)],
  [(37.033,9.923),(37.428,8.572),(37.721,7.4),(37.99,6.119),(38.193,4.926),(38.352,3.727),(38.467,2.521),(38.545,1.11),(38.564,0),(38.545,-1.11),(38.467,-2.521),(38.352,-3.727),(38.193,-4.926),(37.99,-6.119),(37.721,-7.4),(37.428,-8.572),(37.033,-9.923),(36.956,-9.902),(37.161,-9.231),(37.351,-8.554),(37.666,-7.287),(37.912,-6.106),(38.144,-4.717),(38.306,-3.419),(38.396,-2.416),(38.466,-1.108),(38.485,0),(38.466,1.108),(38.396,2.416),(38.306,3.419),(38.144,4.717),(37.912,6.106),(37.666,7.287),(37.351,8.554),(37.161,9.231),(36.956,9.902)],
  [(37.487,10.045),(37.806,8.972),(38.136,7.69),(38.416,6.394),(38.644,5.088),(38.832,3.671),(38.92,2.756),(38.999,1.532),(39.034,0.204),(39.012,-1.226),(38.944,-2.45),(38.832,-3.671),(38.644,-5.088),(38.416,-6.394),(38.136,-7.69),(37.806,-8.972),(37.487,-10.045),(37.11,-9.944),(37.453,-8.785),(37.754,-7.612),(37.992,-6.528),(38.242,-5.136),(38.384,-4.136),(38.523,-2.829),(38.614,-1.416),(38.644,-0.202),(38.629,1.012),(38.555,2.426),(38.432,3.734),(38.257,5.037),(38.031,6.33),(37.8,7.416),(37.48,8.687),(37.11,9.944)],
  [(37.641,10.086),(37.961,9.009),(38.316,7.621),(38.612,6.219),(38.802,5.108),(38.979,3.788),(39.111,2.358),(39.175,1.128),(39.194,0),(39.175,-1.128),(39.111,-2.358),(38.979,-3.788),(38.802,-5.108),(38.612,-6.219),(38.316,-7.621),(37.961,-9.009),(37.641,-10.086),(37.565,-10.065),(37.801,-9.285),(37.965,-8.695),(38.307,-7.307),(38.571,-6.006),(38.784,-4.693),(38.934,-3.475),(39.032,-2.353),(39.096,-1.126),(39.115,0),(39.096,1.126),(39.032,2.353),(38.934,3.475),(38.784,4.693),(38.571,6.006),(38.307,7.307),(37.965,8.695),(37.801,9.285),(37.565,10.065)],
  [(38.096,10.208),(38.474,8.918),(38.754,7.814),(39.057,6.396),(39.253,5.272),(39.411,4.142),(39.549,2.8),(39.633,1.453),(39.664,0.104),(39.645,-1.142),(39.573,-2.49),(39.459,-3.73),(39.253,-5.272),(39.057,-6.396),(38.754,-7.814),(38.474,-8.918),(38.096,-10.208),(37.719,-10.107),(38.094,-8.83),(38.395,-7.637),(38.672,-6.333),(38.882,-5.119),(39.059,-3.795),(39.168,-2.67),(39.248,-1.336),(39.274,-0.206),(39.255,1.131),(39.184,2.465),(39.059,3.795),(38.882,5.119),(38.672,6.333),(38.395,7.637),(38.094,8.83),(37.719,10.107)],
  [(38.25,10.249),(38.602,9.054),(38.934,7.744),(39.234,6.319),(39.427,5.191),(39.618,3.745),(39.732,2.5),(39.801,1.251),(39.824,0),(39.801,-1.251),(39.732,-2.5),(39.618,-3.745),(39.427,-5.191),(39.234,-6.319),(38.934,-7.744),(38.602,-9.054),(38.25,-10.249),(38.173,-10.229),(38.525,-9.036),(38.88,-7.628),(39.156,-6.307),(39.364,-5.078),(39.539,-3.738),(39.661,-2.391),(39.722,-1.248),(39.745,0),(39.722,1.248),(39.661,2.391),(39.539,3.738),(39.364,5.078),(39.156,6.307),(38.88,7.628),(38.525,9.036),(38.173,10.229)],
  [(38.704,10.371),(39.06,9.161),(39.419,7.734),(39.659,6.601),(39.877,5.356),(40.05,4.103),(40.194,2.634),(40.263,1.476),(40.294,0.105),(40.275,-1.16),(40.202,-2.529),(40.086,-3.789),(39.909,-5.148),(39.659,-6.601),(39.419,-7.734),(39.06,-9.161),(38.704,-10.371),(38.328,-10.27),(38.68,-9.072),(39.013,-7.76),(39.294,-6.435),(39.538,-4.995),(39.698,-3.753),(39.82,-2.401),(39.885,-1.149),(39.904,-0.104),(39.885,1.149),(39.82,2.401),(39.698,3.753),(39.538,4.995),(39.294,6.435),(39.013,7.76),(38.68,9.072),(38.328,10.27)],
  [(38.858,10.412),(39.243,9.096),(39.552,7.867),(39.856,6.42),(40.083,5.064),(40.245,3.804),(40.361,2.539),(40.434,1.165),(40.454,0),(40.434,-1.165),(40.361,-2.539),(40.245,-3.804),(40.083,-5.064),(39.856,-6.42),(39.552,-7.867),(39.243,-9.096),(38.858,-10.412),(38.782,-10.392),(39.166,-9.078),(39.498,-7.749),(39.778,-6.407),(40.02,-4.949),(40.189,-3.587),(40.282,-2.534),(40.359,-1.057),(40.375,0),(40.359,1.057),(40.282,2.534),(40.189,3.587),(40.02,4.949),(39.778,6.407),(39.498,7.749),(39.166,9.078),(38.782,10.392)],
  [(39.313,10.534),(39.645,9.408),(39.989,8.063),(40.28,6.704),(40.518,5.334),(40.677,4.168),(40.814,2.782),(40.897,1.392),(40.924,0.107),(40.901,-1.285),(40.838,-2.462),(40.725,-3.742),(40.533,-5.235),(40.34,-6.389),(40.061,-7.751),(39.729,-9.099),(39.313,-10.534),(38.936,-10.433),(39.349,-9.012),(39.631,-7.883),(39.875,-6.744),(40.115,-5.388),(40.289,-4.128),(40.425,-2.756),(40.507,-1.379),(40.534,-0.106),(40.515,1.167),(40.449,2.439),(40.325,3.812),(40.163,5.074),(39.935,6.432),(39.631,7.883),(39.349,9.012),(38.936,10.433)],
  [(39.467,10.575),(39.713,9.754),(39.884,9.135),(40.194,7.886),(40.478,6.52),(40.676,5.355),(40.848,4.077),(40.973,2.793),(41.052,1.505),(41.076,0.753),(41.084,0),(41.076,-0.753),(41.052,-1.505),(40.973,-2.793),(40.848,-4.077),(40.676,-5.355),(40.478,-6.52),(40.194,-7.886),(39.884,-9.135),(39.713,-9.754),(39.467,-10.575),(39.391,-10.555),(39.636,-9.736),(39.835,-9.014),(40.14,-7.766),(40.4,-6.507),(40.645,-5.027),(40.805,-3.749),(40.911,-2.574),(40.985,-1.181),(41.005,0),(40.985,1.181),(40.911,2.574),(40.805,3.749),(40.645,5.027),(40.4,6.507),(40.14,7.766),(39.835,9.014),(39.636,9.736),(39.391,10.555)],
  [(39.921,10.697),(40.258,9.554),(40.631,8.082),(40.881,6.914),(41.126,5.524),(41.316,4.124),(41.443,2.825),(41.522,1.523),(41.554,0.109),(41.538,-1.088),(41.467,-2.5),(41.352,-3.8),(41.159,-5.309),(40.922,-6.701),(40.631,-8.082),(40.258,-9.554),(39.921,-10.697),(39.545,-10.596),(39.963,-9.153),(40.273,-7.901),(40.517,-6.744),(40.756,-5.366),(40.928,-4.085),(41.062,-2.691),(41.141,-1.293),(41.164,-0.108),(41.141,1.293),(41.07,2.584),(40.928,4.085),(40.756,5.366),(40.517,6.744),(40.273,7.901),(39.963,9.153),(39.545,10.596)],
  [(40.075,10.738),(40.442,9.485),(40.661,8.643),(40.812,8.007),(41.1,6.62),(41.317,5.329),(41.475,4.14),(41.602,2.836),(41.686,1.419),(41.714,0),(41.686,-1.419),(41.602,-2.836),(41.475,-4.14),(41.317,-5.329),(41.1,-6.62),(40.812,-8.007),(40.661,-8.643),(40.442,-9.485),(40.075,-10.738),(39.999,-10.718),(40.248,-9.886),(40.477,-9.048),(40.71,-8.098),(40.874,-7.354),(41.118,-6.072),(41.27,-5.104),(41.444,-3.699),(41.555,-2.396),(41.615,-1.199),(41.635,0),(41.615,1.199),(41.555,2.396),(41.444,3.699),(41.27,5.104),(41.118,6.072),(40.874,7.354),(40.71,8.098),(40.477,9.048),(40.248,9.886),(39.999,10.718)],
  [(40.53,10.86),(40.9,9.593),(41.249,8.205),(41.544,6.803),(41.767,5.499),(41.943,4.186),(42.08,2.758),(42.156,1.435),(42.184,0.11),(42.164,-1.215),(42.096,-2.538),(41.968,-3.967),(41.8,-5.281),(41.544,-6.803),(41.298,-7.99),(40.957,-9.38),(40.53,-10.86),(40.153,-10.759),(40.549,-9.399),(40.842,-8.235),(41.159,-6.74),(41.364,-5.556),(41.555,-4.148),(41.682,-2.842),(41.762,-1.531),(41.794,-0.109),(41.778,1.094),(41.699,2.623),(41.555,4.148),(41.397,5.34),(41.159,6.74),(40.891,8.022),(40.549,9.399),(40.153,10.759)],
  [(40.684,10.901),(41.084,9.523),(41.43,8.128),(41.701,6.829),(41.942,5.41),(42.102,4.202),(42.239,2.768),(42.311,1.551),(42.338,0.665),(42.344,0),(42.338,-0.665),(42.311,-1.551),(42.239,-2.768),(42.102,-4.202),(41.942,-5.41),(41.701,-6.829),(41.43,-8.128),(41.084,-9.523),(40.684,-10.901),(40.608,-10.881),(40.86,-10.036),(41.064,-9.292),(41.303,-8.328),(41.494,-7.466),(41.741,-6.164),(41.911,-5.072),(42.06,-3.865),(42.184,-2.432),(42.248,-1.106),(42.265,0),(42.248,1.106),(42.184,2.432),(42.06,3.865),(41.911,5.072),(41.741,6.164),(41.494,7.466),(41.303,8.328),(41.064,9.292),(40.86,10.036),(40.608,10.881)],
  [(41.138,11.023),(41.484,9.845),(41.867,8.328),(42.123,7.125),(42.392,5.581),(42.57,4.249),(42.7,2.911),(42.781,1.569),(42.814,0.112),(42.794,-1.233),(42.717,-2.687),(42.57,-4.249),(42.392,-5.581),(42.123,-7.125),(41.867,-8.328),(41.484,-9.845),(41.138,-11.023),(40.762,-10.922),(41.191,-9.434),(41.509,-8.144),(41.76,-6.951),(42.005,-5.53),(42.182,-4.21),(42.311,-2.884),(42.396,-1.443),(42.424,-0.111),(42.404,1.221),(42.343,2.441),(42.23,3.769),(42.038,5.311),(41.801,6.733),(41.509,8.144),(41.191,9.434),(40.762,10.922)],
  [(41.292,11.064),(41.698,9.665),(41.998,8.468),(42.302,7.041),(42.55,5.602),(42.66,4.823),(42.754,4.041),(42.876,2.698),(42.945,1.462),(42.974,0),(42.945,-1.462),(42.876,-2.698),(42.754,-4.041),(42.66,-4.823),(42.55,-5.602),(42.302,-7.041),(41.998,-8.468),(41.698,-9.665),(41.292,-11.064),(41.216,-11.044),(41.621,-9.647),(41.946,-8.344),(42.245,-6.918),(42.488,-5.481),(42.663,-4.146),(42.789,-2.805),(42.866,-1.459),(42.895,0),(42.866,1.459),(42.789,2.805),(42.663,4.146),(42.488,5.481),(42.245,6.918),(41.946,8.344),(41.621,9.647),(41.216,11.044)],
  [(41.747,11.186),(42.097,9.99),(42.485,8.451),(42.766,7.118),(42.999,5.775),(43.197,4.312),(43.337,2.84),(43.415,1.478),(43.444,0.114),(43.415,-1.478),(43.337,-2.84),(43.222,-4.086),(43.05,-5.438),(42.787,-7.007),(42.485,-8.451),(42.097,-9.99),(41.747,-11.186),(41.37,-11.085),(41.747,-9.792),(42.077,-8.484),(42.36,-7.165),(42.595,-5.835),(42.782,-4.497),(42.921,-3.152),(43.021,-1.577),(43.054,-0.113),(43.034,1.24),(42.972,2.478),(42.846,3.937),(42.663,5.39),(42.423,6.833),(42.152,8.155),(41.805,9.575),(41.37,11.085)],
  [(20.448,5.479),(20.626,4.952),(20.83,4.257),(20.991,3.607),(21.155,2.785),(21.256,2.122),(21.339,1.343),(21.373,0.84),(21.394,0.112),(21.385,-0.56),(21.348,-1.231),(21.277,-1.955),(21.183,-2.62),(21.039,-3.389),(20.9,-3.987),(20.692,-4.739),(20.448,-5.479),(0,-0.175),(0,0.175)])
R(ebeam_gc_te1310_rotate_1, PinRec, [(-0.05,-0.175,0.05,0.175)])
P(ebeam_gc_te1310_rotate_1, DevRec, [(42,12.5),(44,4),(44,-4),(42,-12.5),(0,-0.4),(0,0.4)])
P(ebeam_gc_te1310_rotate_1, FbrTgt, [(24.621,4.5),(25.061,4.457),(25.495,4.37),(25.918,4.242),(26.326,4.073),(26.716,3.864),(27.084,3.619),(27.426,3.338),(27.738,3.026),(28.019,2.684),(28.264,2.316),(28.473,1.926),(28.642,1.518),(28.77,1.095),(28.857,0.661),(28.9,0.221),(28.9,-0.221),(28.857,-0.661),(28.77,-1.095),(28.642,-1.518),(28.473,-1.926),(28.264,-2.316),(28.019,-2.684),(27.738,-3.026),(27.426,-3.338),(27.084,-3.619),(26.716,-3.864),(26.326,-4.073),(25.918,-4.242),(25.495,-4.37),(25.061,-4.457),(24.621,-4.5),(24.179,-4.5),(23.739,-4.457),(23.305,-4.37),(22.882,-4.242),(22.474,-4.073),(22.084,-3.864),(21.716,-3.619),(21.374,-3.338),(21.062,-3.026),(20.781,-2.684),(20.536,-2.316),(20.327,-1.926),(20.158,-1.518),(20.03,-1.095),(19.943,-0.661),(19.9,-0.221),(19.9,0.221),(19.943,0.661),(20.03,1.095),(20.158,1.518),(20.327,1.926),(20.536,2.316),(20.781,2.684),(21.062,3.026),(21.374,3.338),(21.716,3.619),(22.084,3.864),(22.474,4.073),(22.882,4.242),(23.305,4.37),(23.739,4.457),(24.179,4.5)])

lib.write_gds('ebeam_gc_te1310_rotate_130368fd_flat.gds')
